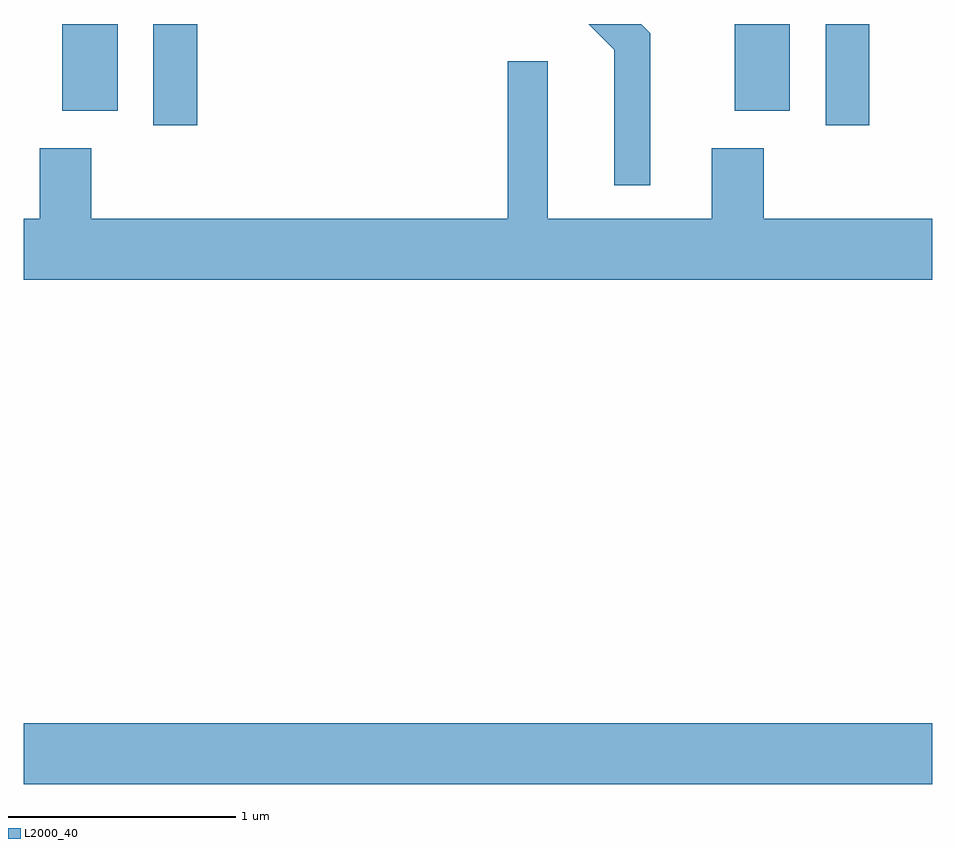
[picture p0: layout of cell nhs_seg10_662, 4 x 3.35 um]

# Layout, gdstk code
import gdstk
lib = gdstk.Library(unit=1e-6, precision=1e-09)
def R(c, l, rs):  # rectangles x0, y0, x1, y1
    for r in rs: c.add(gdstk.rectangle(r[:2], r[2:], *l))
def P(c, l, *ps):  # polygons
    for p in ps: c.add(gdstk.Polygon(p, *l))
L2000_40 = (2000, 40)

nhs_seg10_662 = lib.new_cell('nhs_seg10_662')
R(nhs_seg10_662, L2000_40, [(203.611,2187.176,207.611,2187.444), (204.181,2190.076,204.374,2190.522), (207.141,2190.076,207.334,2190.522), (203.781,2190.141,204.024,2190.522), (206.741,2190.141,206.984,2190.522)])
P(nhs_seg10_662, L2000_40, [(206.369,2190.482),(206.329,2190.522),(206.098,2190.522),(206.211,2190.409),(206.211,2189.813),(206.369,2189.813)],
  [(207.611,2189.664),(206.869,2189.664),(206.869,2189.974),(206.641,2189.974),(206.641,2189.664),(205.919,2189.664),(205.919,2190.359),(205.741,2190.359),(205.741,2189.664),(203.909,2189.664),(203.909,2189.974),(203.681,2189.974),(203.681,2189.664),(203.611,2189.664),(203.611,2189.396),(207.611,2189.396)])

lib.write_gds('nhs_seg10_662.gds')
